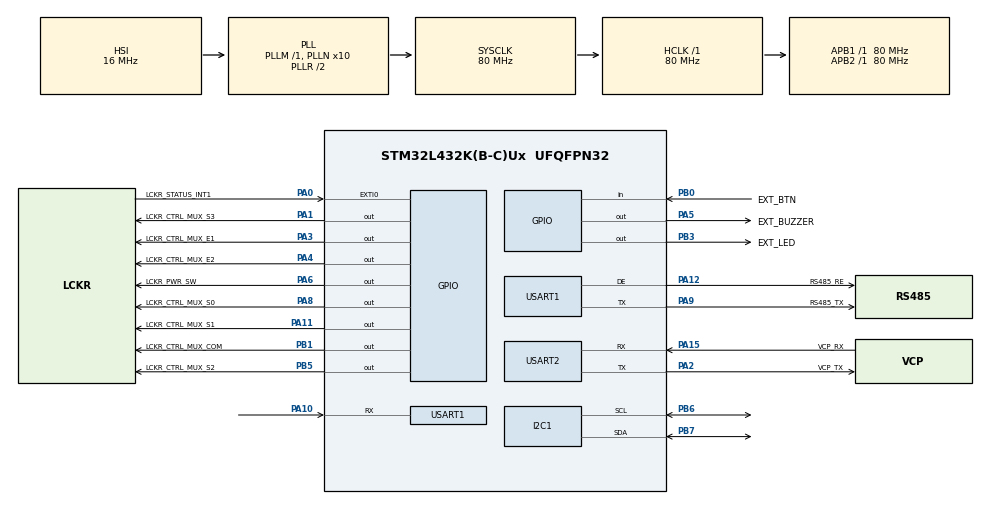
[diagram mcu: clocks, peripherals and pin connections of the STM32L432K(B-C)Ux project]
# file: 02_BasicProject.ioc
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I2C1.Timing=0x10D19CE4
Mcu.Family=STM32L4
Mcu.Name=STM32L432K(B-C)Ux
Mcu.Package=UFQFPN32
NVIC.PriorityGroup=NVIC_PRIORITYGROUP_4
PA0.GPIO_Label=LCKR_STATUS_INT1
PA0.Signal=GPXTI0
PA1.GPIO_Label=LCKR_CTRL_MUX_S3
PA1.Signal=GPIO_Output
PA10.Mode=Asynchronous
PA10.Signal=USART1_RX
PA11.GPIO_Label=LCKR_CTRL_MUX_S1
PA11.Signal=GPIO_Output
PA12.GPIO_Label=RS485_RE
PA12.Mode=Hardware Flow Control (RS485)
PA12.Signal=USART1_DE
PA13\ (JTMS-SWDIO).Mode=Serial_Wire
PA13\ (JTMS-SWDIO).Signal=SYS_JTMS-SWDIO
PA14\ (JTCK-SWCLK).Mode=Serial_Wire
PA14\ (JTCK-SWCLK).Signal=SYS_JTCK-SWCLK
PA15\ (JTDI).GPIO_Label=VCP_RX
PA15\ (JTDI).Mode=Asynchronous
PA15\ (JTDI).Signal=USART2_RX
PA2.GPIO_Label=VCP_TX
PA2.Mode=Asynchronous
PA2.Signal=USART2_TX
PA3.GPIO_Label=LCKR_CTRL_MUX_E1
PA3.Signal=GPIO_Output
PA4.GPIO_Label=LCKR_CTRL_MUX_E2
PA4.Signal=GPIO_Output
PA5.GPIO_Label=EXT_BUZZER
PA5.Signal=GPIO_Output
PA6.GPIO_Label=LCKR_PWR_SW
PA6.Signal=GPIO_Output
PA7.Signal=I2C3_SCL
PA8.GPIO_Label=LCKR_CTRL_MUX_S0
PA8.Signal=GPIO_Output
PA9.GPIO_Label=RS485_TX
PA9.Mode=Asynchronous
PA9.Signal=USART1_TX
PB0.GPIO_Label=EXT_BTN
PB0.Signal=GPIO_Input
PB1.GPIO_Label=LCKR_CTRL_MUX_COM
PB1.Signal=GPIO_Output
PB3\ (JTDO-TRACESWO).GPIO_Label=EXT_LED
PB3\ (JTDO-TRACESWO).Signal=GPIO_Output
PB4\ (NJTRST).Signal=I2C3_SDA
PB5.GPIO_Label=LCKR_CTRL_MUX_S2
PB5.Signal=GPIO_Output
PB6.Mode=I2C
PB6.Signal=I2C1_SCL
PB7.Mode=I2C
PB7.Signal=I2C1_SDA
PC14-OSC32_IN\ (PC14).Mode=LSE-External-Oscillator
PC14-OSC32_IN\ (PC14).Signal=RCC_OSC32_IN
PC15-OSC32_OUT\ (PC15).Mode=LSE-External-Oscillator
PC15-OSC32_OUT\ (PC15).Signal=RCC_OSC32_OUT
ProjectManager.HeapSize=0x200
ProjectManager.StackSize=0x400
ProjectManager.TargetToolchain=CMake
RCC.ADCFreq_Value=64000000
RCC.AHBFreq_Value=80000000
RCC.APB1Freq_Value=80000000
RCC.APB1TimFreq_Value=80000000
RCC.APB2Freq_Value=80000000
RCC.APB2TimFreq_Value=80000000
RCC.CortexFreq_Value=80000000
RCC.HCLKFreq_Value=80000000
RCC.HSE_VALUE=8000000
RCC.HSI48_VALUE=48000000
RCC.HSI_VALUE=16000000
RCC.MSI_VALUE=4000000
RCC.PLLN=10
RCC.PLLSourceVirtual=RCC_PLLSOURCE_HSI
RCC.SYSCLKFreq_VALUE=80000000
RCC.SYSCLKSource=RCC_SYSCLKSOURCE_PLLCLK
RCC.USBFreq_Value=64000000
RCC.VCOOutputFreq_Value=160000000
USART1.VirtualMode-Asynchronous=VM_ASYNC
USART1.VirtualMode-Hardware\ Flow\ Control\ (RS485)=VM_ASYNC
USART2.VirtualMode-Asynchronous=VM_ASYNC
board=custom

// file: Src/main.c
/* USER CODE BEGIN Header */
/**
  ******************************************************************************
  * @file           : main.c
  * @brief          : Main program body
  ******************************************************************************
  * @attention
  *
  * Copyright (c) 2024 STMicroelectronics.
  * All rights reserved.
  *
  * This software is licensed under terms that can be found in the LICENSE file
  * in the root directory of this software component.
  * If no LICENSE file comes with this software, it is provided AS-IS.
  *
  ******************************************************************************
  */
/* USER CODE END Header */
#include "main.h"

/* USER CODE BEGIN Includes */
#include "stdio.h"
#include "PowerManager.h"
#include "LockerDriver.h"

/* USER CODE END Includes */

I2C_HandleTypeDef hi2c1;

UART_HandleTypeDef huart1;
UART_HandleTypeDef huart2;

void SystemClock_Config(void);
static void MX_GPIO_Init(void);
static void MX_USART2_UART_Init(void);
static void MX_I2C1_Init(void);
static void MX_USART1_UART_Init(void);
/* USER CODE BEGIN PFP */
#define PUTCHAR_PROTOTYPE int __io_putchar(int ch)
/* USER CODE END PFP */

int main(void)
{

  /* MCU Configuration--------------------------------------------------------*/

  /* Reset of all peripherals, Initializes the Flash interface and the Systick. */
  HAL_Init();

  /* Configure the system clock */
  SystemClock_Config();

  /* Initialize all configured peripherals */
  MX_GPIO_Init();
  MX_USART2_UART_Init();
  MX_I2C1_Init();
  MX_USART1_UART_Init();
  /* USER CODE BEGIN 2 */

  printf("test test\r\n");
  PowerManager_Init();
  LockerDriver_Init();

  /* USER CODE END 2 */

  /* Infinite loop */
  /* USER CODE BEGIN WHILE */
  PowerManager_Enable12V();
  HAL_Delay(1000);
  LockerDriver_OpenLocker(6);
  while (1)
  {
	  HAL_GPIO_TogglePin(EXT_LED_GPIO_Port, EXT_LED_Pin);
    printf("Toggle \r\n");

	  HAL_Delay(200);
    LockerDriver_Loop();
    /* USER CODE END WHILE */

  }
}

void SystemClock_Config(void)
{
  RCC_OscInitTypeDef RCC_OscInitStruct = {0};
  RCC_ClkInitTypeDef RCC_ClkInitStruct = {0};

  /** Configure the main internal regulator output voltage
  */
  if (HAL_PWREx_ControlVoltageScaling(PWR_REGULATOR_VOLTAGE_SCALE1) != HAL_OK)
  {
    Error_Handler();
  }

  /** Initializes the RCC Oscillators according to the specified parameters
  * in the RCC_OscInitTypeDef structure.
  */
  RCC_OscInitStruct.OscillatorType = RCC_OSCILLATORTYPE_HSI;
  RCC_OscInitStruct.HSIState = RCC_HSI_ON;
  RCC_OscInitStruct.HSICalibrationValue = RCC_HSICALIBRATION_DEFAULT;
  RCC_OscInitStruct.PLL.PLLState = RCC_PLL_ON;
  RCC_OscInitStruct.PLL.PLLSource = RCC_PLLSOURCE_HSI;
  RCC_OscInitStruct.PLL.PLLM = 1;
  RCC_OscInitStruct.PLL.PLLN = 10;
  RCC_OscInitStruct.PLL.PLLP = RCC_PLLP_DIV7;
  RCC_OscInitStruct.PLL.PLLQ = RCC_PLLQ_DIV2;
  RCC_OscInitStruct.PLL.PLLR = RCC_PLLR_DIV2;
  if (HAL_RCC_OscConfig(&RCC_OscInitStruct) != HAL_OK)
  {
    Error_Handler();
  }

  /** Initializes the CPU, AHB and APB buses clocks
  */
  RCC_ClkInitStruct.ClockType = RCC_CLOCKTYPE_HCLK|RCC_CLOCKTYPE_SYSCLK
                              |RCC_CLOCKTYPE_PCLK1|RCC_CLOCKTYPE_PCLK2;
  RCC_ClkInitStruct.SYSCLKSource = RCC_SYSCLKSOURCE_PLLCLK;
  RCC_ClkInitStruct.AHBCLKDivider = RCC_SYSCLK_DIV1;
  RCC_ClkInitStruct.APB1CLKDivider = RCC_HCLK_DIV1;
  RCC_ClkInitStruct.APB2CLKDivider = RCC_HCLK_DIV1;

  if (HAL_RCC_ClockConfig(&RCC_ClkInitStruct, FLASH_LATENCY_4) != HAL_OK)
  {
    Error_Handler();
  }
}

static void MX_I2C1_Init(void)
{

  hi2c1.Instance = I2C1;
  hi2c1.Init.Timing = 0x10D19CE4;
  hi2c1.Init.OwnAddress1 = 0;
  hi2c1.Init.AddressingMode = I2C_ADDRESSINGMODE_7BIT;
  hi2c1.Init.DualAddressMode = I2C_DUALADDRESS_DISABLE;
  hi2c1.Init.OwnAddress2 = 0;
  hi2c1.Init.OwnAddress2Masks = I2C_OA2_NOMASK;
  hi2c1.Init.GeneralCallMode = I2C_GENERALCALL_DISABLE;
  hi2c1.Init.NoStretchMode = I2C_NOSTRETCH_DISABLE;
  if (HAL_I2C_Init(&hi2c1) != HAL_OK)
  {
    Error_Handler();
  }

  /** Configure Analogue filter
  */
  if (HAL_I2CEx_ConfigAnalogFilter(&hi2c1, I2C_ANALOGFILTER_ENABLE) != HAL_OK)
  {
    Error_Handler();
  }

  /** Configure Digital filter
  */
  if (HAL_I2CEx_ConfigDigitalFilter(&hi2c1, 0) != HAL_OK)
  {
    Error_Handler();
  }

}

static void MX_USART1_UART_Init(void)
{

  huart1.Instance = USART1;
  huart1.Init.BaudRate = 115200;
  huart1.Init.WordLength = UART_WORDLENGTH_8B;
  huart1.Init.StopBits = UART_STOPBITS_1;
  huart1.Init.Parity = UART_PARITY_NONE;
  huart1.Init.Mode = UART_MODE_TX_RX;
  huart1.Init.HwFlowCtl = UART_HWCONTROL_NONE;
  huart1.Init.OverSampling = UART_OVERSAMPLING_16;
  huart1.Init.OneBitSampling = UART_ONE_BIT_SAMPLE_DISABLE;
  huart1.AdvancedInit.AdvFeatureInit = UART_ADVFEATURE_NO_INIT;
  if (HAL_RS485Ex_Init(&huart1, UART_DE_POLARITY_HIGH, 0, 0) != HAL_OK)
  {
    Error_Handler();
  }

}

static void MX_USART2_UART_Init(void)
{

  huart2.Instance = USART2;
  huart2.Init.BaudRate = 115200;
  huart2.Init.WordLength = UART_WORDLENGTH_8B;
  huart2.Init.StopBits = UART_STOPBITS_1;
  huart2.Init.Parity = UART_PARITY_NONE;
  huart2.Init.Mode = UART_MODE_TX_RX;
  huart2.Init.HwFlowCtl = UART_HWCONTROL_NONE;
  huart2.Init.OverSampling = UART_OVERSAMPLING_16;
  huart2.Init.OneBitSampling = UART_ONE_BIT_SAMPLE_DISABLE;
  huart2.AdvancedInit.AdvFeatureInit = UART_ADVFEATURE_NO_INIT;
  if (HAL_UART_Init(&huart2) != HAL_OK)
  {
    Error_Handler();
  }

}

static void MX_GPIO_Init(void)
{
  GPIO_InitTypeDef GPIO_InitStruct = {0};

  /* GPIO Ports Clock Enable */
  __HAL_RCC_GPIOC_CLK_ENABLE();
  __HAL_RCC_GPIOA_CLK_ENABLE();
  __HAL_RCC_GPIOB_CLK_ENABLE();

  /*Configure GPIO pin Output Level */
  HAL_GPIO_WritePin(GPIOA, LCKR_CTRL_MUX_S3_Pin|LCKR_CTRL_MUX_E1_Pin|LCKR_CTRL_MUX_E2_Pin|EXT_BUZZER_Pin
                          |LCKR_PWR_SW_Pin|LCKR_CTRL_MUX_S0_Pin|LCKR_CTRL_MUX_S1_Pin, GPIO_PIN_RESET);

  /*Configure GPIO pin Output Level */
  HAL_GPIO_WritePin(GPIOB, LCKR_CTRL_MUX_COM_Pin|EXT_LED_Pin|LCKR_CTRL_MUX_S2_Pin, GPIO_PIN_RESET);

  /*Configure GPIO pin : LCKR_STATUS_INT1_Pin */
  GPIO_InitStruct.Pin = LCKR_STATUS_INT1_Pin;
  GPIO_InitStruct.Mode = GPIO_MODE_IT_RISING;
  GPIO_InitStruct.Pull = GPIO_NOPULL;
  HAL_GPIO_Init(LCKR_STATUS_INT1_GPIO_Port, &GPIO_InitStruct);

  /*Configure GPIO pins : LCKR_CTRL_MUX_S3_Pin LCKR_CTRL_MUX_E1_Pin LCKR_CTRL_MUX_E2_Pin EXT_BUZZER_Pin
                           LCKR_PWR_SW_Pin LCKR_CTRL_MUX_S0_Pin LCKR_CTRL_MUX_S1_Pin */
  GPIO_InitStruct.Pin = LCKR_CTRL_MUX_S3_Pin|LCKR_CTRL_MUX_E1_Pin|LCKR_CTRL_MUX_E2_Pin|EXT_BUZZER_Pin
                          |LCKR_PWR_SW_Pin|LCKR_CTRL_MUX_S0_Pin|LCKR_CTRL_MUX_S1_Pin;
  GPIO_InitStruct.Mode = GPIO_MODE_OUTPUT_PP;
  GPIO_InitStruct.Pull = GPIO_NOPULL;
  GPIO_InitStruct.Speed = GPIO_SPEED_FREQ_LOW;
  HAL_GPIO_Init(GPIOA, &GPIO_InitStruct);

  /*Configure GPIO pin : PA7 */
  GPIO_InitStruct.Pin = GPIO_PIN_7;
  GPIO_InitStruct.Mode = GPIO_MODE_AF_OD;
  GPIO_InitStruct.Pull = GPIO_NOPULL;
  GPIO_InitStruct.Speed = GPIO_SPEED_FREQ_VERY_HIGH;
  GPIO_InitStruct.Alternate = GPIO_AF4_I2C3;
  HAL_GPIO_Init(GPIOA, &GPIO_InitStruct);

  /*Configure GPIO pin : EXT_BTN_Pin */
  GPIO_InitStruct.Pin = EXT_BTN_Pin;
  GPIO_InitStruct.Mode = GPIO_MODE_INPUT;
  GPIO_InitStruct.Pull = GPIO_NOPULL;
  HAL_GPIO_Init(EXT_BTN_GPIO_Port, &GPIO_InitStruct);

  /*Configure GPIO pins : LCKR_CTRL_MUX_COM_Pin EXT_LED_Pin LCKR_CTRL_MUX_S2_Pin */
  GPIO_InitStruct.Pin = LCKR_CTRL_MUX_COM_Pin|EXT_LED_Pin|LCKR_CTRL_MUX_S2_Pin;
  GPIO_InitStruct.Mode = GPIO_MODE_OUTPUT_PP;
  GPIO_InitStruct.Pull = GPIO_NOPULL;
  GPIO_InitStruct.Speed = GPIO_SPEED_FREQ_LOW;
  HAL_GPIO_Init(GPIOB, &GPIO_InitStruct);

  /*Configure GPIO pin : PB4 */
  GPIO_InitStruct.Pin = GPIO_PIN_4;
  GPIO_InitStruct.Mode = GPIO_MODE_AF_OD;
  GPIO_InitStruct.Pull = GPIO_NOPULL;
  GPIO_InitStruct.Speed = GPIO_SPEED_FREQ_VERY_HIGH;
  GPIO_InitStruct.Alternate = GPIO_AF4_I2C3;
  HAL_GPIO_Init(GPIOB, &GPIO_InitStruct);

}

/* USER CODE BEGIN 4 */
/**
  * @brief  Retargets the C library printf function to the USART.
  *   None
  * @retval None
  */
PUTCHAR_PROTOTYPE
{
  /* Place your implementation of fputc here */
  /* e.g. write a character to the USART1 and Loop until the end of transmission */
  HAL_UART_Transmit(&huart2, (uint8_t *)&ch, 1, 0xFFFF);

  return ch;
}
/* USER CODE END 4 */

void Error_Handler(void)
{
  __disable_irq();
  while (1)
  {
  }
}
